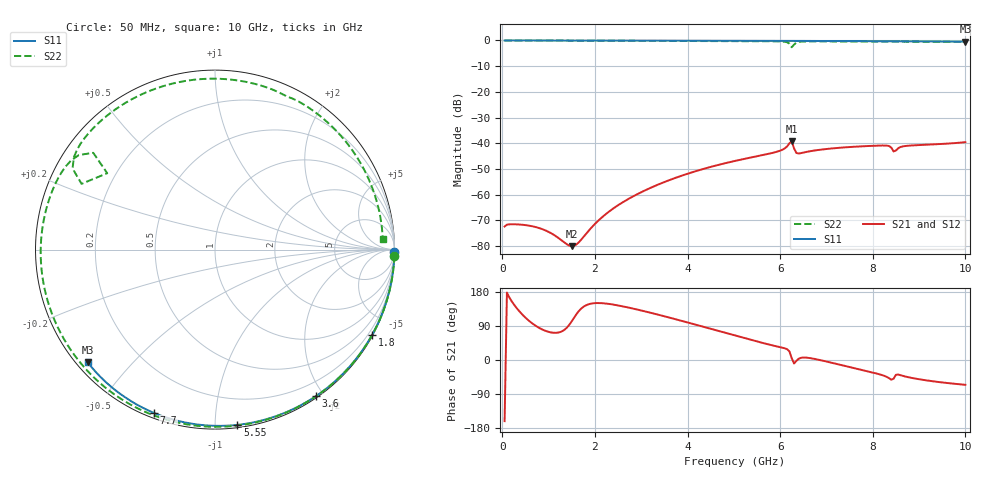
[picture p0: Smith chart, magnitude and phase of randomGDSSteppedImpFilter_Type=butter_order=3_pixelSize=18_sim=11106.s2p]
! freq	dB(S11)	phase(S11)	dB(S12)	phase(S12)
!  dB(S21)	phase(S21)	dB(S22)	phase(S22)
!S-par simulation data
#  GHz  S  DB  R 50
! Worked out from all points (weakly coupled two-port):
!   200 points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, 50 MHz to 10 GHz, reference 50 ohm
!   highest |S21| = -39.21 dB at 6.25 GHz (marker M1); lowest = -80.0 dB at 1.5 GHz (marker M2)
!   lowest |S11| = -0.5 dB at 10 GHz (marker M3), VSWR 37.11, Z = 1.54 - j18.9 ohm
!   |S11| at or under -10 dB: nowhere
!   |S22| runs from -2.7 to 0.0 dB; largest |S21 - S12| = 0
!   S11 on the Smith chart (normalised r, x): 50 MHz: open; 1.8 GHz: 0.03, -3.95; 3.6 GHz: 0.02, -1.90; 5.55 GHz: 0.02, -1.14; 7.7 GHz: 0.02, -0.69; 10 GHz: 0.03, -0.38
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0.05  -0.00 -0.8  -72.40 -161.4  -72.40 -161.4  -0.00 -1.9
0.75  -0.01 -12.0  -72.75 88.1  -72.75 88.1  -0.03 -28.4
1.5  -0.03 -23.7  -80.04 102.2  -80.04 102.2  -0.07 -55.9
1.75  -0.04 -27.6  -76.52 140.2  -76.52 140.2  -0.08 -64.8
1.8  -0.04 -28.4  -75.42 143.9  -75.42 143.9  -0.08 -66.5
2.45  -0.05 -38.4  -64.71 145.1  -64.71 145.1  -0.11 -89.0
3.4  -0.07 -52.5  -55.81 118.5  -55.81 118.5  -0.15 -120.3
3.6  -0.07 -55.5  -54.39 112.2  -54.39 112.2  -0.16 -126.8
4.35  -0.09 -66.2  -49.95 87.3  -49.95 87.3  -0.20 -150.7
5.05  -0.12 -76.0  -46.77 63.7  -46.77 63.7  -0.24 -173.2
5.55  -0.14 -82.7  -44.87 47.3  -44.87 47.3  -0.28 170.0
6.15  -0.16 -90.7  -41.22 28.5  -41.22 28.5  -0.69 145.2
6.25  -0.17 -92.0  -39.21 4.7  -39.21 4.7  -2.66 144.7
6.3  -0.17 -92.7  -41.99 -9.3  -41.99 -9.3  -1.63 153.8
6.35  -0.17 -93.3  -43.78 -2.4  -43.78 -2.4  -0.79 150.4
6.7  -0.19 -97.8  -42.93 3.9  -42.93 3.9  -0.37 133.1
7.7  -0.25 -110.5  -41.25 -24.4  -41.25 -24.4  -0.42 94.3
8.35  -0.30 -118.5  -41.06 -47.8  -41.06 -47.8  -0.48 68.4
8.45  -0.32 -119.7  -43.18 -49.3  -43.18 -49.3  -0.51 64.6
8.65  -0.33 -122.1  -41.22 -41.9  -41.22 -41.9  -0.47 56.5
9.2  -0.38 -128.8  -40.54 -54.5  -40.54 -54.5  -0.50 34.4
10  -0.47 -138.5  -39.58 -65.5  -39.58 -65.5  -0.57 3.5
